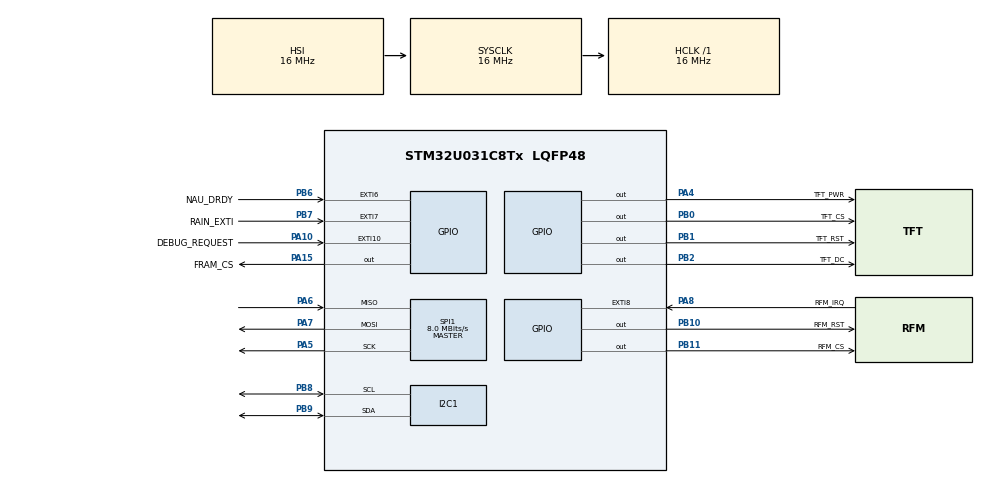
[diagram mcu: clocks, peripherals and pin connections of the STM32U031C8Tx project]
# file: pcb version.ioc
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CRC.CRCLength=CRC_POLYLENGTH_16B
CRC.DefaultPolynomialUse=DEFAULT_POLYNOMIAL_DISABLE
CRC.GeneratingPolynomial=X12+X5+X0
I2C1.Timing=0x00303D5B
Mcu.Family=STM32U0
Mcu.Name=STM32U031C8Tx
Mcu.Package=LQFP48
NVIC.EXTI4_15_IRQn=true\:0\:0\:false\:false\:true\:true\:true\:true
NVIC.PriorityGroup=NVIC_PRIORITYGROUP_2
NVIC.RTC_TAMP_IRQn=true\:0\:0\:false\:false\:true\:true\:true\:true
PA10.GPIO_Label=DEBUG_REQUEST
PA10.GPIO_ModeDefaultEXTI=GPIO_MODE_IT_RISING_FALLING
PA10.Signal=GPXTI10
PA13\ (SWDIO).Mode=Serial_Wire
PA13\ (SWDIO).Signal=DEBUG_JTMS-SWDIO
PA14\ (SWCLK).Mode=Serial_Wire
PA14\ (SWCLK).Signal=DEBUG_JTCK-SWCLK
PA15.GPIO_Label=FRAM_CS
PA15.Signal=GPIO_Output
PA4.GPIO_Label=TFT_PWR
PA4.Signal=GPIO_Output
PA5.Mode=Full_Duplex_Master
PA5.Signal=SPI1_SCK
PA6.Mode=Full_Duplex_Master
PA6.Signal=SPI1_MISO
PA7.Mode=Full_Duplex_Master
PA7.Signal=SPI1_MOSI
PA8.GPIO_Label=RFM_IRQ
PA8.GPIO_ModeDefaultEXTI=GPIO_MODE_IT_RISING_FALLING
PA8.Signal=GPXTI8
PB0.GPIO_Label=TFT_CS
PB0.Signal=GPIO_Output
PB1.GPIO_Label=TFT_RST
PB1.Signal=GPIO_Output
PB10.GPIO_Label=RFM_RST
PB10.Signal=GPIO_Output
PB11.GPIO_Label=RFM_CS
PB11.Signal=GPIO_Output
PB2.GPIO_Label=TFT_DC
PB2.Signal=GPIO_Output
PB6.GPIO_Label=NAU_DRDY
PB6.GPIO_ModeDefaultEXTI=GPIO_MODE_IT_RISING_FALLING
PB6.Signal=GPXTI6
PB7.GPIO_Label=RAIN_EXTI
PB7.GPIO_ModeDefaultEXTI=GPIO_MODE_IT_RISING_FALLING
PB7.Signal=GPXTI7
PB8.Mode=I2C
PB8.Signal=I2C1_SCL
PB9.Mode=I2C
PB9.Signal=I2C1_SDA
PC14-OSC32_IN.Mode=LSE-External-Oscillator
PC14-OSC32_IN.Signal=RCC_OSC32_IN
PC15-OSC32_OUT.Mode=LSE-External-Oscillator
PC15-OSC32_OUT.Signal=RCC_OSC32_OUT
ProjectManager.HeapSize=0x200
ProjectManager.StackSize=0x400
ProjectManager.TargetToolchain=STM32CubeIDE
RCC.ADCFreq_Value=16000000
RCC.AHBFreq_Value=16000000
RCC.CortexFreq_Value=16000000
RCC.EnableCSSLSE=true
RCC.HCLKFreq_Value=16000000
RCC.HSE_VALUE=4000000
RCC.HSI48_VALUE=48000000
RCC.HSI_VALUE=16000000
RCC.LSE_Drive_Capability=RCC_LSEDRIVE_MEDIUMHIGH
RCC.MSI_VALUE=4000000
RCC.RTCClockSelection=RCC_RTCCLKSOURCE_LSE
RCC.SYSCLKFreq_VALUE=16000000
RCC.VCOOutputFreq_Value=64000000
SPI1.CalculateBaudRate=8.0 MBits/s
SPI1.DataSize=SPI_DATASIZE_8BIT
SPI1.Direction=SPI_DIRECTION_2LINES
SPI1.Mode=SPI_MODE_MASTER
SPI1.NSSPMode=SPI_NSS_PULSE_DISABLE
SPI1.VirtualType=VM_MASTER
VP_CRC_VS_CRC.Mode=CRC_Activate
VP_PWR_VS_SECSignals.Mode=Security/Privilege
VP_RTC_VS_RTC_Activate.Mode=RTC_Enabled
VP_RTC_VS_RTC_WakeUp_intern.Mode=WakeUp
board=custom

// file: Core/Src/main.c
/* USER CODE BEGIN Header */
/**
 ******************************************************************************
 * @file           : main.c
 * @brief          : Main program body
 ******************************************************************************
 * @attention
 *
 * Copyright (c) 2026 STMicroelectronics.
 * All rights reserved.
 *
 * This software is licensed under terms that can be found in the LICENSE file
 * in the root directory of this software component.
 * If no LICENSE file comes with this software, it is provided AS-IS.
 *
 ******************************************************************************
 */
/* USER CODE END Header */
#include "main.h"

/* USER CODE BEGIN Includes */

#include <stdio.h>

#include "power.h"

#include "gfx.h"
#include "st7735.h"

#include "fram.h"
#include "fram_queue.h"

#include "rfm95.h"
#include "hive_packet.h"

#include "rtc.h"

#include "nau7802.h"

#include "menu.h"

/* USER CODE END Includes */

/* USER CODE BEGIN PD */

#define TIME_SYNC_INTERVAL_CYCLES 288   // ~daily at 5 min/cycle

/* USER CODE END PD */

CRC_HandleTypeDef hcrc;

I2C_HandleTypeDef hi2c1;

RTC_HandleTypeDef hrtc;

SPI_HandleTypeDef hspi1;

/* USER CODE BEGIN PV */

HivePacket packet;

volatile uint8_t debug_requested = 0;

uint8_t tx_success = 0;

int32_t weight;

static uint32_t cycle_count = 0;

/* USER CODE END PV */

void SystemClock_Config(void);
static void MX_GPIO_Init(void);
static void MX_CRC_Init(void);
static void MX_RTC_Init(void);
static void MX_I2C1_Init(void);
void MX_SPI1_Init(void);

int main(void) {

	/* MCU Configuration--------------------------------------------------------*/

	/* Reset of all peripherals, Initializes the Flash interface and the Systick. */
	HAL_Init();

	/* Configure the system clock */
	SystemClock_Config();

	/* Initialize all configured peripherals */
	MX_GPIO_Init();
	MX_CRC_Init();
	MX_RTC_Init();
	MX_I2C1_Init();
	MX_SPI1_Init();
	/* USER CODE BEGIN 2 */

	PowerOnDisplay();
	GFX_Init();

	FRAM_Init();
	if (FRAM_QueueInit() != HAL_OK) {
		GFX_SetCursor(2, 2);
		GFX_SetTextColor(ST7735_RED);
		GFX_Print("FRAM init failed");
		Error_Handler();
	}

	if (NAU7802_Init() != 0) {
		GFX_SetCursor(2, 2);
		GFX_SetTextColor(ST7735_RED);
		GFX_Print("NAU7802 init failed");
		Error_Handler();
	}

	SX1276_HandleTypedef rfm95 = { .hspi = &hspi1, .nss_port = RFM_CS_GPIO_Port,
			.nss_pin = RFM_CS_Pin, .rst_port = RFM_RST_GPIO_Port, .rst_pin =
			RFM_RST_Pin };

	LORA_CONFIG_TYPEDEF lora_config = { .frequency = 915000000UL,
			.spreading_Factor = 7, .bandwidth = 125000, .coding_Rate = 5,
			.tx_Power = 17, .use_Pa_Boost = 1, .preamble_Length = 8,
			.sync_Word = 0x12, .enable_CRC = 1, .implicit_header = 0 };

	if (lora_init(&rfm95, &lora_config) != HAL_OK) {
		GFX_SetCursor(2, 2);
		GFX_SetTextColor(ST7735_RED);
		GFX_Print("RFM95 init failed");
		Error_Handler();
	}

	GFX_SetTextSize(1);
	GFX_SetCursor(2, 2);
	GFX_SetTextColor(ST7735_YELLOW);
	GFX_Print("Beehive Monitor V2");
	GFX_SetCursor(2, 20);
	GFX_Print("Init succeeded");
	HAL_Delay(2000);
	PowerOffDisplay();

	/* USER CODE END 2 */

	/* Infinite loop */
	while (1) {

		/* USER CODE BEGIN 3 */

		PowerUp();

		if (debug_requested) {
			debug_requested = 0;

			PowerOnDisplay();
			RunMenu();
			EnterSleep();
		}

		// Powered On

		NAU7802_ReadADC(&weight);

		packet.version = 2;
		packet.node_id = 1;
		packet.sequence++;

		packet.flags = 0;
		if (!RTC_IsValid() || (cycle_count % TIME_SYNC_INTERVAL_CYCLES) == 0)
			packet.flags |= FLAG_TIME_REQUEST;
		cycle_count++;

		packet.timestamp = (uint32_t) GetTimestamp();

		packet.weight = weight;
		packet.temperature = 0;
		packet.humidity = 0;

		packet.external_temperature = 0;
		packet.external_humidity = 0;

		packet.crc = (uint16_t) HAL_CRC_Calculate(&hcrc, (uint32_t*) &packet,
				sizeof(packet) - sizeof(packet.crc));

		tx_success = TransmitPacket(&packet);

		if (!tx_success) {
			// failed after a packet TX
			packet.backlog++;
			packet.crc = (uint16_t) HAL_CRC_Calculate(&hcrc,
					(uint32_t*) &packet, sizeof(packet) - sizeof(packet.crc));
			HAL_StatusTypeDef push_status = FRAM_Push(&packet);
			if (push_status != HAL_OK) {
				Error_Handler();
			}
		}

		if (tx_success) {
			// okay, retry
			while (FRAM_GetCount()) {
				if (FRAM_Peek(&packet) == HAL_OK) {
					tx_success = TransmitPacket(&packet);
					if (!tx_success) {
						break;
					}
					FRAM_Pop();
				}
			}
			if (FRAM_GetCount() == 0) {
				// no backlog
				packet.backlog = 0;
				packet.crc = (uint16_t) HAL_CRC_Calculate(&hcrc,
						(uint32_t*) &packet,
						sizeof(packet) - sizeof(packet.crc));
			}
		}

		// Power Down
		EnterSleep();
	}

	/* USER CODE END 3 */
}

void SystemClock_Config(void) {
	RCC_OscInitTypeDef RCC_OscInitStruct = { 0 };
	RCC_ClkInitTypeDef RCC_ClkInitStruct = { 0 };

	/** Configure the main internal regulator output voltage
	 */
	HAL_PWREx_ControlVoltageScaling(PWR_REGULATOR_VOLTAGE_SCALE2);

	/** Configure LSE Drive Capability
	 */
	HAL_PWR_EnableBkUpAccess();
	__HAL_RCC_LSEDRIVE_CONFIG(RCC_LSEDRIVE_MEDIUMHIGH);

	/** Initializes the RCC Oscillators according to the specified parameters
	 * in the RCC_OscInitTypeDef structure.
	 */
	RCC_OscInitStruct.OscillatorType = RCC_OSCILLATORTYPE_HSI
			| RCC_OSCILLATORTYPE_LSE;
	RCC_OscInitStruct.LSEState = RCC_LSE_ON;
	RCC_OscInitStruct.HSIState = RCC_HSI_ON;
	RCC_OscInitStruct.HSICalibrationValue = RCC_HSICALIBRATION_DEFAULT;
	RCC_OscInitStruct.PLL.PLLState = RCC_PLL_NONE;
	if (HAL_RCC_OscConfig(&RCC_OscInitStruct) != HAL_OK) {
		Error_Handler();
	}

	/** Initializes the CPU, AHB and APB buses clocks
	 */
	RCC_ClkInitStruct.ClockType = RCC_CLOCKTYPE_HCLK | RCC_CLOCKTYPE_SYSCLK
			| RCC_CLOCKTYPE_PCLK1;
	RCC_ClkInitStruct.SYSCLKSource = RCC_SYSCLKSOURCE_HSI;
	RCC_ClkInitStruct.AHBCLKDivider = RCC_SYSCLK_DIV1;
	RCC_ClkInitStruct.APB1CLKDivider = RCC_HCLK_DIV1;

	if (HAL_RCC_ClockConfig(&RCC_ClkInitStruct, FLASH_LATENCY_1) != HAL_OK) {
		Error_Handler();
	}
}

static void MX_CRC_Init(void) {

	hcrc.Instance = CRC;
	hcrc.Init.DefaultPolynomialUse = DEFAULT_POLYNOMIAL_DISABLE;
	hcrc.Init.DefaultInitValueUse = DEFAULT_INIT_VALUE_ENABLE;
	hcrc.Init.GeneratingPolynomial = 4129;
	hcrc.Init.CRCLength = CRC_POLYLENGTH_16B;
	hcrc.Init.InputDataInversionMode = CRC_INPUTDATA_INVERSION_NONE;
	hcrc.Init.OutputDataInversionMode = CRC_OUTPUTDATA_INVERSION_DISABLE;
	hcrc.InputDataFormat = CRC_INPUTDATA_FORMAT_BYTES;
	if (HAL_CRC_Init(&hcrc) != HAL_OK) {
		Error_Handler();
	}

}

static void MX_I2C1_Init(void) {

	hi2c1.Instance = I2C1;
	hi2c1.Init.Timing = 0x00303D5B;
	hi2c1.Init.OwnAddress1 = 0;
	hi2c1.Init.AddressingMode = I2C_ADDRESSINGMODE_7BIT;
	hi2c1.Init.DualAddressMode = I2C_DUALADDRESS_DISABLE;
	hi2c1.Init.OwnAddress2 = 0;
	hi2c1.Init.OwnAddress2Masks = I2C_OA2_NOMASK;
	hi2c1.Init.GeneralCallMode = I2C_GENERALCALL_DISABLE;
	hi2c1.Init.NoStretchMode = I2C_NOSTRETCH_DISABLE;
	if (HAL_I2C_Init(&hi2c1) != HAL_OK) {
		Error_Handler();
	}

	/** Configure Analogue filter
	 */
	if (HAL_I2CEx_ConfigAnalogFilter(&hi2c1, I2C_ANALOGFILTER_ENABLE)
			!= HAL_OK) {
		Error_Handler();
	}

	/** Configure Digital filter
	 */
	if (HAL_I2CEx_ConfigDigitalFilter(&hi2c1, 0) != HAL_OK) {
		Error_Handler();
	}

}

static void MX_RTC_Init(void) {

	/** Initialize RTC Only
	 */
	hrtc.Instance = RTC;
	hrtc.Init.HourFormat = RTC_HOURFORMAT_24;
	hrtc.Init.AsynchPrediv = 127;
	hrtc.Init.SynchPrediv = 255;
	hrtc.Init.OutPut = RTC_OUTPUT_DISABLE;
	hrtc.Init.OutPutRemap = RTC_OUTPUT_REMAP_NONE;
	hrtc.Init.OutPutPolarity = RTC_OUTPUT_POLARITY_HIGH;
	hrtc.Init.OutPutType = RTC_OUTPUT_TYPE_OPENDRAIN;
	hrtc.Init.OutPutPullUp = RTC_OUTPUT_PULLUP_NONE;
	hrtc.Init.BinMode = RTC_BINARY_NONE;
	if (HAL_RTC_Init(&hrtc) != HAL_OK) {
		Error_Handler();
	}

	/** Enable the WakeUp
	 */
	if (HAL_RTCEx_SetWakeUpTimer_IT(&hrtc, 0, RTC_WAKEUPCLOCK_RTCCLK_DIV16, 0)
			!= HAL_OK) {
		Error_Handler();
	}

}

void MX_SPI1_Init(void) {

	/* SPI1 parameter configuration*/
	hspi1.Instance = SPI1;
	hspi1.Init.Mode = SPI_MODE_MASTER;
	hspi1.Init.Direction = SPI_DIRECTION_2LINES;
	hspi1.Init.DataSize = SPI_DATASIZE_8BIT;
	hspi1.Init.CLKPolarity = SPI_POLARITY_LOW;
	hspi1.Init.CLKPhase = SPI_PHASE_1EDGE;
	hspi1.Init.NSS = SPI_NSS_SOFT;
	hspi1.Init.BaudRatePrescaler = SPI_BAUDRATEPRESCALER_2;
	hspi1.Init.FirstBit = SPI_FIRSTBIT_MSB;
	hspi1.Init.TIMode = SPI_TIMODE_DISABLE;
	hspi1.Init.CRCCalculation = SPI_CRCCALCULATION_DISABLE;
	hspi1.Init.CRCPolynomial = 7;
	hspi1.Init.CRCLength = SPI_CRC_LENGTH_DATASIZE;
	hspi1.Init.NSSPMode = SPI_NSS_PULSE_DISABLE;
	if (HAL_SPI_Init(&hspi1) != HAL_OK) {
		Error_Handler();
	}

}

static void MX_GPIO_Init(void) {
	GPIO_InitTypeDef GPIO_InitStruct = { 0 };

	/* GPIO Ports Clock Enable */
	__HAL_RCC_GPIOC_CLK_ENABLE();
	__HAL_RCC_GPIOA_CLK_ENABLE();
	__HAL_RCC_GPIOB_CLK_ENABLE();

	/*Configure GPIO pin Output Level */
	HAL_GPIO_WritePin(GPIOA, TFT_PWR_Pin | FRAM_CS_Pin, GPIO_PIN_RESET);

	/*Configure GPIO pin Output Level */
	HAL_GPIO_WritePin(GPIOB,
	TFT_CS_Pin | TFT_RST_Pin | TFT_DC_Pin | RFM_RST_Pin | RFM_CS_Pin,
			GPIO_PIN_RESET);

	/*Configure GPIO pins : TFT_PWR_Pin FRAM_CS_Pin */
	GPIO_InitStruct.Pin = TFT_PWR_Pin | FRAM_CS_Pin;
	GPIO_InitStruct.Mode = GPIO_MODE_OUTPUT_PP;
	GPIO_InitStruct.Pull = GPIO_NOPULL;
	GPIO_InitStruct.Speed = GPIO_SPEED_FREQ_LOW;
	HAL_GPIO_Init(GPIOA, &GPIO_InitStruct);

	/*Configure GPIO pins : TFT_CS_Pin TFT_RST_Pin TFT_DC_Pin RFM_RST_Pin
	 RFM_CS_Pin */
	GPIO_InitStruct.Pin = TFT_CS_Pin | TFT_RST_Pin | TFT_DC_Pin | RFM_RST_Pin
			| RFM_CS_Pin;
	GPIO_InitStruct.Mode = GPIO_MODE_OUTPUT_PP;
	GPIO_InitStruct.Pull = GPIO_NOPULL;
	GPIO_InitStruct.Speed = GPIO_SPEED_FREQ_LOW;
	HAL_GPIO_Init(GPIOB, &GPIO_InitStruct);

	/*Configure GPIO pins : RFM_IRQ_Pin DEBUG_REQUEST_Pin */
	GPIO_InitStruct.Pin = RFM_IRQ_Pin | DEBUG_REQUEST_Pin;
	GPIO_InitStruct.Mode = GPIO_MODE_IT_RISING_FALLING;
	GPIO_InitStruct.Pull = GPIO_NOPULL;
	HAL_GPIO_Init(GPIOA, &GPIO_InitStruct);

	/*Configure GPIO pins : NAU_DRDY_Pin RAIN_EXTI_Pin */
	GPIO_InitStruct.Pin = NAU_DRDY_Pin | RAIN_EXTI_Pin;
	GPIO_InitStruct.Mode = GPIO_MODE_IT_RISING_FALLING;
	GPIO_InitStruct.Pull = GPIO_NOPULL;
	HAL_GPIO_Init(GPIOB, &GPIO_InitStruct);

	/* EXTI interrupt init*/
	HAL_NVIC_SetPriority(EXTI4_15_IRQn, 0, 0);
	HAL_NVIC_EnableIRQ(EXTI4_15_IRQn);

}

/* USER CODE BEGIN 4 */

void HAL_GPIO_EXTI_Falling_Callback(uint16_t GPIO_Pin) {
	if (GPIO_Pin == DEBUG_REQUEST_Pin) {
		debug_requested = 1;
	} else {
		__NOP();
	}
}

/* USER CODE END 4 */

void Error_Handler(void) {
	__disable_irq();
	while (1) {
	}
}
